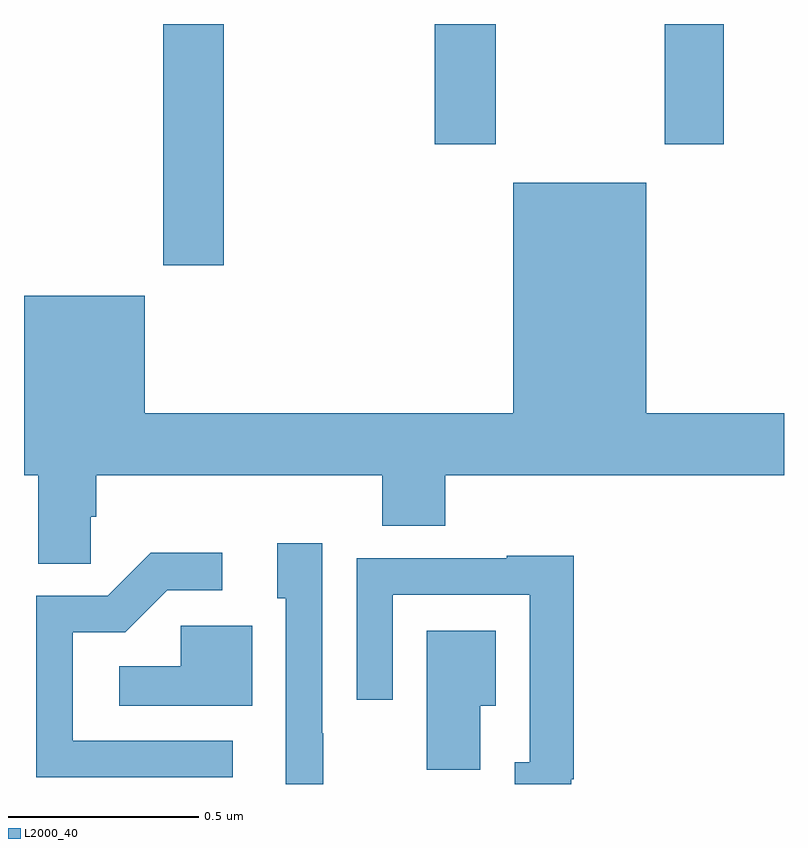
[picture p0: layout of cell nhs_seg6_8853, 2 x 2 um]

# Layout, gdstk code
import gdstk
lib = gdstk.Library(unit=1e-6, precision=1e-09)
def R(c, l, rs):  # rectangles x0, y0, x1, y1
    for r in rs: c.add(gdstk.rectangle(r[:2], r[2:], *l))
def P(c, l, *ps):  # polygons
    for p in ps: c.add(gdstk.Polygon(p, *l))
L2000_40 = (2000, 40)

nhs_seg6_8853 = lib.new_cell('nhs_seg6_8853')
R(nhs_seg6_8853, L2000_40, [(226.366,971.865,226.526,972.5), (227.081,972.183,227.241,972.5), (227.686,972.183,227.841,972.5)])
P(nhs_seg6_8853, L2000_40, [(226.176,971.203),(226.19,971.203),(226.19,971.312),(226.943,971.312),(226.943,971.179),(227.108,971.179),(227.108,971.312),(228,971.312),(228,971.476),(227.638,971.476),(227.638,972.082),(227.288,972.082),(227.288,971.476),(226.318,971.476),(226.318,971.785),(226,971.785),(226,971.312),(226.037,971.312),(226.037,971.08),(226.176,971.08)],
  [(226.787,970.634),(226.785,970.634),(226.785,971.134),(226.667,971.134),(226.667,970.989),(226.689,970.989),(226.689,970.5),(226.787,970.5)],
  [(226.549,970.614),(226.128,970.614),(226.128,970.899),(226.266,970.899),(226.377,971.01),(226.522,971.01),(226.522,971.108),(226.334,971.108),(226.221,970.995),(226.032,970.995),(226.032,970.518),(226.549,970.518)],
  [(227.44,970.513),(227.447,970.513),(227.447,971.101),(227.271,971.101),(227.271,971.094),(226.875,971.094),(226.875,970.722),(226.971,970.722),(226.971,970.998),(227.331,970.998),(227.331,970.557),(227.291,970.557),(227.291,970.5),(227.44,970.5)],
  [(226.6,970.917),(226.413,970.917),(226.413,970.81),(226.251,970.81),(226.251,970.706),(226.6,970.706)],
  [(227.2,970.706),(227.242,970.706),(227.242,970.903),(227.06,970.903),(227.06,970.537),(227.2,970.537)])

lib.write_gds('nhs_seg6_8853.gds')
